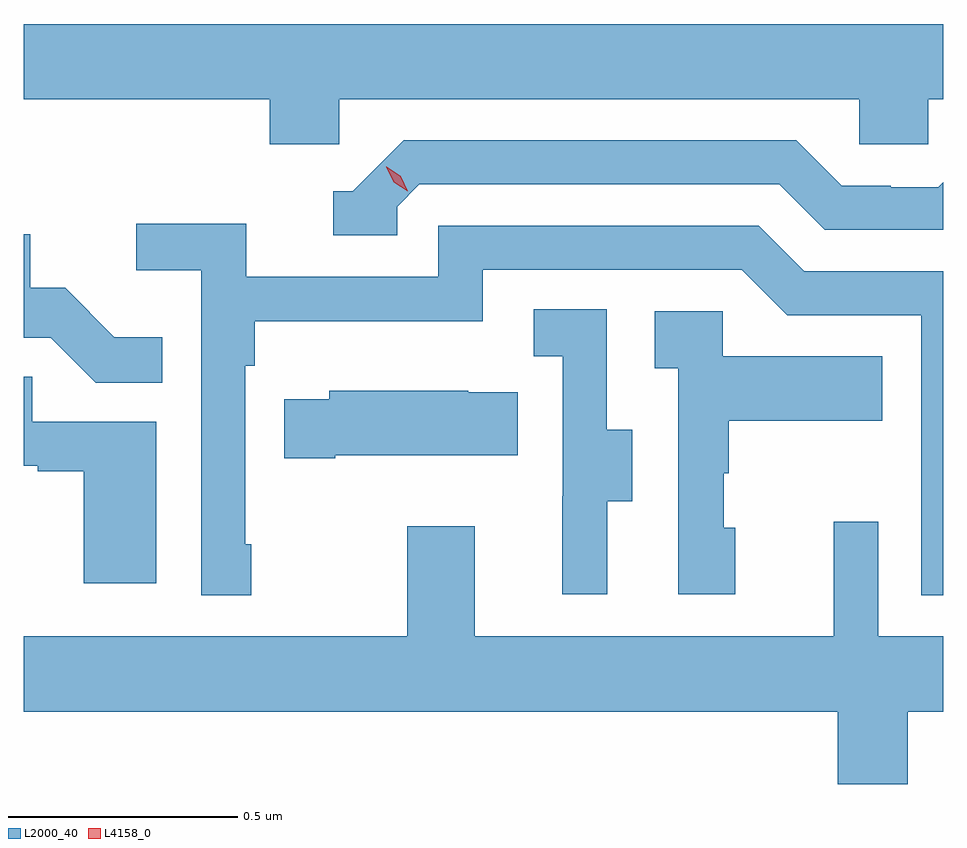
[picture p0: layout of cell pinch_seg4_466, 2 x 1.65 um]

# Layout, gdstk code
import gdstk
lib = gdstk.Library(unit=1e-6, precision=1e-09)
def P(c, l, *ps):  # polygons
    for p in ps: c.add(gdstk.Polygon(p, *l))
L2000_40 = (2000, 40)
L4158_0 = (4158, 0)

pinch_seg4_466 = lib.new_cell('pinch_seg4_466')
P(pinch_seg4_466, L2000_40, [(933.798,788.828),(934.929,788.828),(934.929,788.73),(935.079,788.73),(935.079,788.828),(935.112,788.828),(935.112,788.992),(933.112,788.992),(933.112,788.828),(933.647,788.828),(933.647,788.73),(933.798,788.73)],
  [(933.924,788.595),(933.972,788.643),(934.755,788.643),(934.854,788.544),(935.112,788.544),(935.112,788.648),(935.101,788.637),(934.998,788.637),(934.998,788.64),(934.891,788.64),(934.792,788.739),(933.939,788.739),(933.828,788.628),(933.785,788.628),(933.785,788.532),(933.924,788.532)],
  [(933.607,787.861),(933.594,787.861),(933.594,788.249),(933.614,788.249),(933.614,788.345),(934.11,788.345),(934.11,788.457),(934.674,788.457),(934.773,788.358),(935.064,788.358),(935.064,787.749),(935.112,787.749),(935.112,788.454),(934.81,788.454),(934.711,788.553),(934.014,788.553),(934.014,788.442),(933.596,788.442),(933.596,788.558),(933.357,788.558),(933.357,788.456),(933.498,788.456),(933.498,787.749),(933.607,787.749)],
  [(933.413,788.311),(933.309,788.311),(933.202,788.418),(933.126,788.418),(933.126,788.535),(933.112,788.535),(933.112,788.31),(933.171,788.31),(933.269,788.212),(933.413,788.212)],
  [(934.381,787.954),(934.435,787.954),(934.435,788.109),(934.38,788.109),(934.38,788.372),(934.221,788.372),(934.221,788.269),(934.284,788.269),(934.284,787.965),(934.283,787.965),(934.283,787.752),(934.381,787.752)],
  [(934.66,787.896),(934.635,787.896),(934.635,788.015),(934.645,788.015),(934.645,788.129),(934.979,788.129),(934.979,788.269),(934.632,788.269),(934.632,788.367),(934.485,788.367),(934.485,788.243),(934.536,788.243),(934.536,787.752),(934.66,787.752)],
  [(933.4,788.127),(933.131,788.127),(933.131,788.225),(933.112,788.225),(933.112,788.031),(933.143,788.031),(933.143,788.019),(933.242,788.019),(933.242,787.776),(933.4,787.776)],
  [(933.79,788.054),(934.187,788.054),(934.187,788.191),(934.079,788.191),(934.079,788.194),(933.777,788.194),(933.777,788.176),(933.679,788.176),(933.679,788.047),(933.79,788.047)],
  [(935.035,787.496),(935.112,787.496),(935.112,787.66),(934.971,787.66),(934.971,787.909),(934.874,787.909),(934.874,787.66),(934.093,787.66),(934.093,787.9),(933.946,787.9),(933.946,787.66),(933.112,787.66),(933.112,787.496),(934.883,787.496),(934.883,787.339),(935.035,787.339)])
P(pinch_seg4_466, L4158_0, [(933.947,788.628),(933.917,788.648),(933.901,788.681),(933.901,788.681),(933.902,788.681),(933.932,788.661),(933.947,788.628),(933.947,788.628)])

lib.write_gds('pinch_seg4_466.gds')
